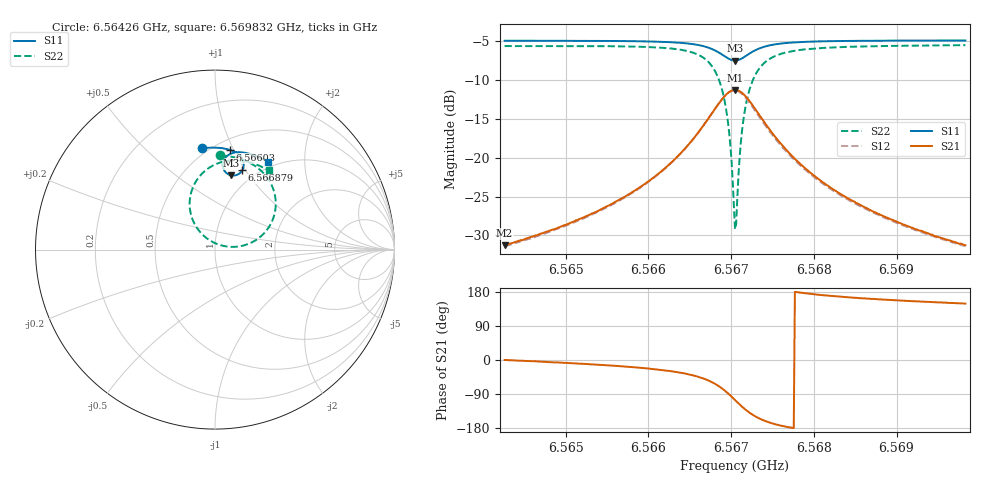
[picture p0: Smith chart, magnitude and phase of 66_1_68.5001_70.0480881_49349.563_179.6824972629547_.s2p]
#  HZ  S  RI  R  50.00
! Rohde & Schwarz Vector Network Analyzer
! Rohde-Schwarz,ZNB20-2Port,1311601062101988,3.16
! Created: UTC 3/20/2024, 5:06:41 PM
! freq[Hz]  re:S11  im:S11  re:S21  im:S21  re:S12  im:S12  re:S22  im:S22
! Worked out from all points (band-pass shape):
!   401 points, 6.56426 GHz to 6.569832 GHz, reference 50 ohm
!   highest |S21| = -11.25 dB at 6.567046 GHz (marker M1); lowest = -31.3 dB at 6.56426 GHz (marker M2)
!   |S21| within 3 dB of the highest: 6.566769 GHz to 6.567325 GHz (556.3 kHz wide, 0.00847 % of centre)
!   lowest |S11| = -7.5 dB at 6.567046 GHz (marker M3), VSWR 2.47, Z = 41 + j41.4 ohm
!   |S11| at or under -10 dB: nowhere
!   |S22| runs from -29.2 to -5.5 dB; largest |S21 - S12| = 0.013
!   S11 on the Smith chart (normalised r, x): 6.56426 GHz: 0.46, +0.77; 6.56603 GHz: 0.59, +0.97; 6.566879 GHz: 0.85, +0.97; 6.569832 GHz: 0.92, +1.33
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6.5642605e9  -0.0702 0.5646  0.0272 -1.38e-05  0.0269 -0.000503  0.0291 0.5245
6.5651938e9  0.00578 0.5679  0.0402 -0.00704  0.0394 -0.00758  0.1163 0.5124
6.5660296e9  0.0827 0.5559  0.0666 -0.0286  0.0656 -0.0293  0.2215 0.4673
6.5661271e9  0.0929 0.5524  0.0716 -0.0343  0.0706 -0.035  0.2376 0.4557
6.5664335e9  0.1276 0.5335  0.0924 -0.0657  0.0908 -0.0671  0.2964 0.3935
6.5666425e9  0.1517 0.5059  0.1058 -0.1138  0.1035 -0.1161  0.3344 0.3004
6.5667818e9  0.1601 0.4726  0.099 -0.1719  0.0948 -0.175  0.3293 0.1899
6.5668793e9  0.1518 0.4417  0.0673 -0.2247  0.06 -0.2275  0.2733 0.0907
6.5669629e9  0.1271 0.4187  0.0083 -0.2621  -0.00216 -0.2619  0.1654 0.0246
6.5669907e9  0.1153 0.4143  -0.0178 -0.2679  -0.0288 -0.2662  0.1185 0.0159
6.5670325e9  0.0959 0.4128  -0.0592 -0.2669  -0.0705 -0.2624  0.0446 0.021
6.5670465e9  0.0893 0.414  -0.0731 -0.2639  -0.0843 -0.2582  0.0204 0.0279
6.5670604e9  0.0829 0.4156  -0.0867 -0.2595  -0.0972 -0.2529  -0.00278 0.0372
6.5670743e9  0.0768 0.418  -0.0995 -0.2537  -0.1096 -0.2462  -0.0247 0.0487
6.5671161e9  0.0608 0.4291  -0.1332 -0.23  -0.1412 -0.2205  -0.0803 0.0946
6.5671579e9  0.05 0.4438  -0.1572 -0.2001  -0.1625 -0.1895  -0.1174 0.15
6.5672136e9  0.0437 0.4651  -0.1741 -0.1581  -0.1762 -0.1475  -0.1397 0.2256
6.5672833e9  0.0458 0.4888  -0.1767 -0.1118  -0.176 -0.1026  -0.1356 0.3066
6.567534e9  0.0843 0.5325  -0.1337 -0.0245  -0.131 -0.0207  -0.0386 0.4518
6.5679798e9  0.1449 0.5423  -0.0779 0.00839  -0.0762 0.00964  0.0899 0.4972
6.5689131e9  0.2306 0.5205  -0.0377 0.0148  -0.0368 0.015  0.2197 0.4782
6.5698324e9  0.2979 0.487  -0.0233 0.0141  -0.0229 0.0141  0.2986 0.4408
